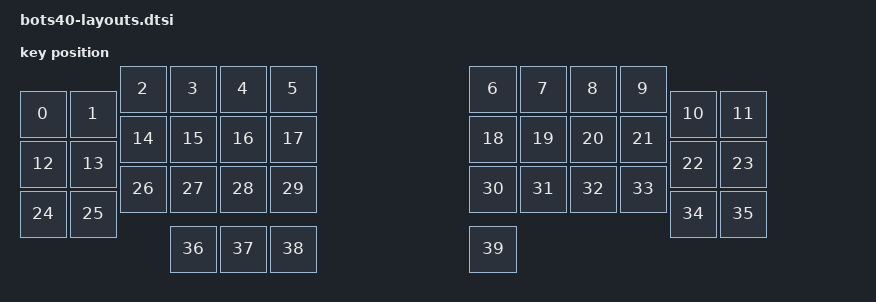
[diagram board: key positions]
#include "./position_map.dtsi"
#include <physical_layouts.dtsi>

/ {
   bots40_physical_layout: bots40_physical_layout {
        compatible = "zmk,physical-layout";
        display-name = "Default";
        transform = <&default_transform>;
        kscan = <&kscan0>;

        keys  //                     w   h    x    y     rot    rx    ry
            = <&key_physical_attrs 100 100    0   50       0     0     0>
            , <&key_physical_attrs 100 100  100   50       0     0     0>
            , <&key_physical_attrs 100 100  200    0       0     0     0>
            , <&key_physical_attrs 100 100  300    0       0     0     0>
            , <&key_physical_attrs 100 100  400    0       0     0     0>
            , <&key_physical_attrs 100 100  500    0       0     0     0>
            , <&key_physical_attrs 100 100  900    0       0     0     0>
            , <&key_physical_attrs 100 100 1000    0       0     0     0>
            , <&key_physical_attrs 100 100 1100    0       0     0     0>
            , <&key_physical_attrs 100 100 1200    0       0     0     0>
            , <&key_physical_attrs 100 100 1300   50       0     0     0>
            , <&key_physical_attrs 100 100 1400   50       0     0     0>
            , <&key_physical_attrs 100 100    0  150       0     0     0>
            , <&key_physical_attrs 100 100  100  150       0     0     0>
            , <&key_physical_attrs 100 100  200  100       0     0     0>
            , <&key_physical_attrs 100 100  300  100       0     0     0>
            , <&key_physical_attrs 100 100  400  100       0     0     0>
            , <&key_physical_attrs 100 100  500  100       0     0     0>
            , <&key_physical_attrs 100 100  900  100       0     0     0>
            , <&key_physical_attrs 100 100 1000  100       0     0     0>
            , <&key_physical_attrs 100 100 1100  100       0     0     0>
            , <&key_physical_attrs 100 100 1200  100       0     0     0>
            , <&key_physical_attrs 100 100 1300  150       0     0     0>
            , <&key_physical_attrs 100 100 1400  150       0     0     0>
            , <&key_physical_attrs 100 100    0  250       0     0     0>
            , <&key_physical_attrs 100 100  100  250       0     0     0>
            , <&key_physical_attrs 100 100  200  200       0     0     0>
            , <&key_physical_attrs 100 100  300  200       0     0     0>
            , <&key_physical_attrs 100 100  400  200       0     0     0>
            , <&key_physical_attrs 100 100  500  200       0     0     0>
            , <&key_physical_attrs 100 100  900  200       0     0     0>
            , <&key_physical_attrs 100 100 1000  200       0     0     0>
            , <&key_physical_attrs 100 100 1100  200       0     0     0>
            , <&key_physical_attrs 100 100 1200  200       0     0     0>
            , <&key_physical_attrs 100 100 1300  250       0     0     0>
            , <&key_physical_attrs 100 100 1400  250       0     0     0>
            , <&key_physical_attrs 100 100  300  320       0     0     0>
            , <&key_physical_attrs 100 100  400  320       0     0     0>
            , <&key_physical_attrs 100 100  500  320       0     0     0>
            , <&key_physical_attrs 100 100  900  320       0     0     0>
            ;
    };
};
